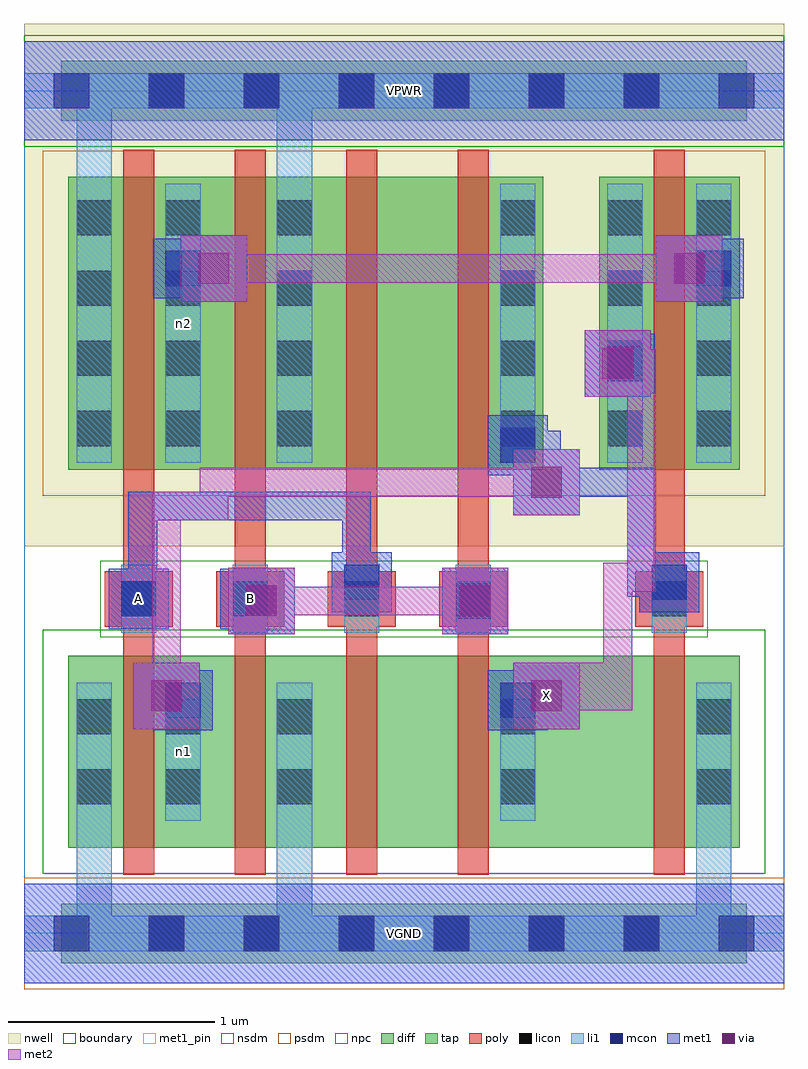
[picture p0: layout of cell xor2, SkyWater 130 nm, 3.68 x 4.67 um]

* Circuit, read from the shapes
.subckt xor2 A B VGND VPWR X n1 n2
XM1 n1 A VGND VGND sky130_fd_pr__nfet_01v8 w=0.93 l=0.15
XM2 VGND B n1 VGND sky130_fd_pr__nfet_01v8 w=0.93 l=0.15
XM3 n3 A VGND VGND sky130_fd_pr__nfet_01v8 w=0.93 l=0.15
XM4 X B n3 VGND sky130_fd_pr__nfet_01v8 w=0.93 l=0.15
XM5 VGND n1 X VGND sky130_fd_pr__nfet_01v8 w=0.93 l=0.15
XM6 n2 A VPWR VPWR sky130_fd_pr__pfet_01v8 w=1.42 l=0.15
XM7 VPWR B n2 VPWR sky130_fd_pr__pfet_01v8 w=1.42 l=0.15
XM8 n4 A VPWR VPWR sky130_fd_pr__pfet_01v8 w=1.42 l=0.15
XM9 n1 B n4 VPWR sky130_fd_pr__pfet_01v8 w=1.42 l=0.15
XM10 n2 n1 X VPWR sky130_fd_pr__pfet_01v8 w=1.42 l=0.15
.ends

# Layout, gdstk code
import gdstk
lib = gdstk.Library(unit=1e-6, precision=1e-09)
def R(c, l, rs):  # rectangles x0, y0, x1, y1
    for r in rs: c.add(gdstk.rectangle(r[:2], r[2:], *l))
def A(c, l, x, y, w, h, nx, ny, dx, dy):  # array of equal rectangles
    R(c, l, [(x+i*dx, y+j*dy, x+i*dx+w, y+j*dy+h) for i in range(nx) for j in range(ny)])
nwell = (64, 20)
diff = (65, 20)
tap = (65, 44)
poly = (66, 20)
licon = (66, 44)
li1 = (67, 20)
mcon = (67, 44)
met1_pin = (68, 16)
met1 = (68, 20)
via = (68, 44)
met2 = (69, 20)
nsdm = (93, 44)
psdm = (94, 20)
npc = (95, 20)
boundary = (235, 4)

xor2 = lib.new_cell('xor2')
R(xor2, nwell, [(0,1.875,3.68,4.405)])
R(xor2, diff, [(0.215,0.415,3.465,1.345), (0.215,2.245,2.515,3.665), (2.785,2.245,3.465,3.665)])
R(xor2, tap, [(0.18,-0.145,3.5,0.145), (0.18,3.935,3.5,4.225)])
A(xor2, poly, 0.48, 0.285, 0.15, 3.51, 4, 1, 0.54, 0)
A(xor2, poly, 0.39, 1.485, 0.33, 0.27, 4, 1, 0.54, 0)
R(xor2, poly, [(3.05,0.285,3.2,3.795), (2.96,1.485,3.29,1.755)])
A(xor2, licon, 0.605, -0.085, 0.17, 0.17, 6, 2, 0.46, 4.08)
A(xor2, licon, 0.47, 1.535, 0.17, 0.17, 4, 1, 0.54, 0)
A(xor2, licon, 0.255, 2.36, 0.17, 0.17, 1, 4, 0, 0.34)
A(xor2, licon, 0.685, 2.36, 0.17, 0.17, 1, 4, 0, 0.34)
A(xor2, licon, 1.225, 2.36, 0.17, 0.17, 1, 4, 0, 0.34)
A(xor2, licon, 2.305, 2.36, 0.17, 0.17, 1, 4, 0, 0.34)
A(xor2, licon, 2.825, 2.36, 0.17, 0.17, 1, 4, 0, 0.34)
A(xor2, licon, 3.255, 2.36, 0.17, 0.17, 1, 4, 0, 0.34)
R(xor2, licon, [(0.255,0.625,0.425,0.795), (0.685,0.625,0.855,0.795), (1.225,0.625,1.395,0.795), (2.305,0.625,2.475,0.795), (3.255,0.625,3.425,0.795), (0.255,0.965,0.425,1.135), (0.685,0.965,0.855,1.135), (1.225,0.965,1.395,1.135), (2.305,0.965,2.475,1.135), (3.255,0.965,3.425,1.135), (3.04,1.535,3.21,1.705)])
A(xor2, li1, 0.47, 1.455, 0.17, 0.33, 4, 1, 0.54, 0)
R(xor2, li1, [(0,-0.085,3.68,0.085), (0.255,-0.085,0.425,1.215), (1.225,-0.085,1.395,1.215), (3.255,-0.085,3.425,1.215), (0.255,0.545,0.425,1.215), (0.685,0.545,0.855,1.215), (1.225,0.545,1.395,1.215), (2.305,0.545,2.475,1.215), (3.255,0.545,3.425,1.215), (3.04,1.455,3.21,1.785), (0.255,2.28,0.425,3.63), (0.255,2.28,0.425,4.165), (0.685,2.28,0.855,3.63), (1.225,2.28,1.395,3.63), (1.225,2.28,1.395,4.165), (2.305,2.28,2.475,3.63), (2.825,2.28,2.995,3.63), (3.255,2.28,3.425,3.63), (0,3.995,3.68,4.165)])
A(xor2, mcon, 0.145, -0.085, 0.17, 0.17, 8, 2, 0.46, 4.08)
R(xor2, mcon, [(0.685,1.045,0.855,1.215), (2.305,1.045,2.475,1.215), (2.09,1.525,2.26,1.695), (0.47,1.535,0.64,1.705), (1.01,1.535,1.18,1.705), (1.55,1.615,1.72,1.785), (3.04,1.615,3.21,1.785), (2.305,2.28,2.475,2.45), (2.825,2.675,2.995,2.845), (0.685,3.135,0.855,3.305), (3.255,3.135,3.425,3.305)])
R(xor2, met1_pin, [(0,-0.24,3.68,0.24), (2.37,0.99,2.69,1.31), (0.41,1.475,0.7,1.765), (0.95,1.475,1.24,1.765), (0,3.84,3.68,4.32)])
R(xor2, met1, [(0,-0.24,3.68,0.24), (0.625,0.985,0.915,1.275), (2.245,0.985,2.535,1.275), (0.53,0.99,0.85,1.31), (2.37,0.99,2.69,1.31), (0.62,1.06,0.84,1.2), (0.62,1.06,0.76,1.22), (2.32,1.06,2.6,1.2), (2.46,1.06,2.6,1.22), (0.99,1.45,1.31,1.77), (2.025,1.45,2.345,1.77), (2.03,1.465,2.32,1.755), (0.41,1.475,0.7,1.765), (0.95,1.475,1.24,1.765), (0.505,1.54,0.645,1.68), (0.505,1.54,0.645,2.14), (1.08,1.54,1.22,1.68), (2.105,1.54,2.255,1.68), (1.49,1.555,1.78,1.845), (2.98,1.555,3.27,1.845), (1.54,1.63,1.68,1.91), (1.54,1.63,1.705,1.77), (2.92,1.63,3.195,1.77), (2.92,1.63,3.06,1.91), (1.54,1.77,1.68,2.14), (2.92,1.77,3.06,2.255), (0.505,2,1.68,2.14), (2.37,2.025,2.69,2.345), (2.46,2.115,2.6,2.435), (2.46,2.115,3.06,2.255), (2.245,2.22,2.535,2.51), (2.32,2.295,2.6,2.435), (2.715,2.6,3.035,2.92), (2.765,2.615,3.055,2.905), (2.805,2.69,2.98,2.83), (0.76,3.06,1.08,3.38), (3.06,3.06,3.38,3.38), (0.625,3.075,0.915,3.365), (3.195,3.075,3.485,3.365), (0.7,3.15,0.99,3.29), (3.15,3.15,3.41,3.29), (0,3.84,3.68,4.32)])
R(xor2, via, [(0.615,1.075,0.765,1.225), (2.455,1.075,2.605,1.225), (1.075,1.535,1.225,1.685), (2.11,1.535,2.26,1.685), (2.455,2.11,2.605,2.26), (2.8,2.685,2.95,2.835), (0.845,3.145,0.995,3.295), (3.145,3.145,3.295,3.295)])
R(xor2, met2, [(0.53,0.99,0.85,1.31), (2.37,0.99,2.69,1.31), (0.62,1.08,0.76,2.14), (2.46,1.08,2.945,1.22), (2.69,1.08,2.805,1.31), (2.805,1.08,2.945,1.795), (0.99,1.45,1.31,1.77), (2.025,1.45,2.345,1.77), (1.08,1.54,2.255,1.68), (2.805,1.655,3.06,1.795), (2.92,1.655,3.06,2.83), (0.62,2,0.99,2.14), (0.85,2,0.99,2.255), (2.37,2.025,2.69,2.345), (0.85,2.115,2.6,2.255), (2.715,2.6,3.035,2.92), (2.805,2.69,3.06,2.83), (0.76,3.06,1.08,3.38), (3.06,3.06,3.38,3.38), (0.85,3.15,3.29,3.29)])
R(xor2, nsdm, [(0.09,0.29,3.59,1.47), (0,3.81,3.68,4.35)])
R(xor2, psdm, [(0,-0.27,3.68,0.27), (0.09,2.12,3.59,3.79)])
R(xor2, npc, [(0.37,1.435,3.31,1.805)])
R(xor2, boundary, [(0,0,3.68,4.08)])
xor2.add(gdstk.Label('n1', (0.77,0.88), layer=67, texttype=5))
xor2.add(gdstk.Label('n2', (0.77,2.955), layer=67, texttype=5))
xor2.add(gdstk.Label('A', (0.555,1.62), layer=68, texttype=5))
xor2.add(gdstk.Label('B', (1.095,1.62), layer=68, texttype=5))
xor2.add(gdstk.Label('X', (2.53,1.15), layer=68, texttype=5))
xor2.add(gdstk.Label('VPWR', (1.84,4.08), layer=68, texttype=5))
xor2.add(gdstk.Label('VGND', (1.84,0), layer=68, texttype=5))
xor2.add(gdstk.Label('A', (0.555,1.62), layer=68, texttype=16))
xor2.add(gdstk.Label('B', (1.095,1.62), layer=68, texttype=16))
xor2.add(gdstk.Label('X', (2.53,1.15), layer=68, texttype=16))
xor2.add(gdstk.Label('VPWR', (1.84,4.08), layer=68, texttype=16))
xor2.add(gdstk.Label('VGND', (1.84,0), layer=68, texttype=16))

lib.write_gds('xor2.gds')
